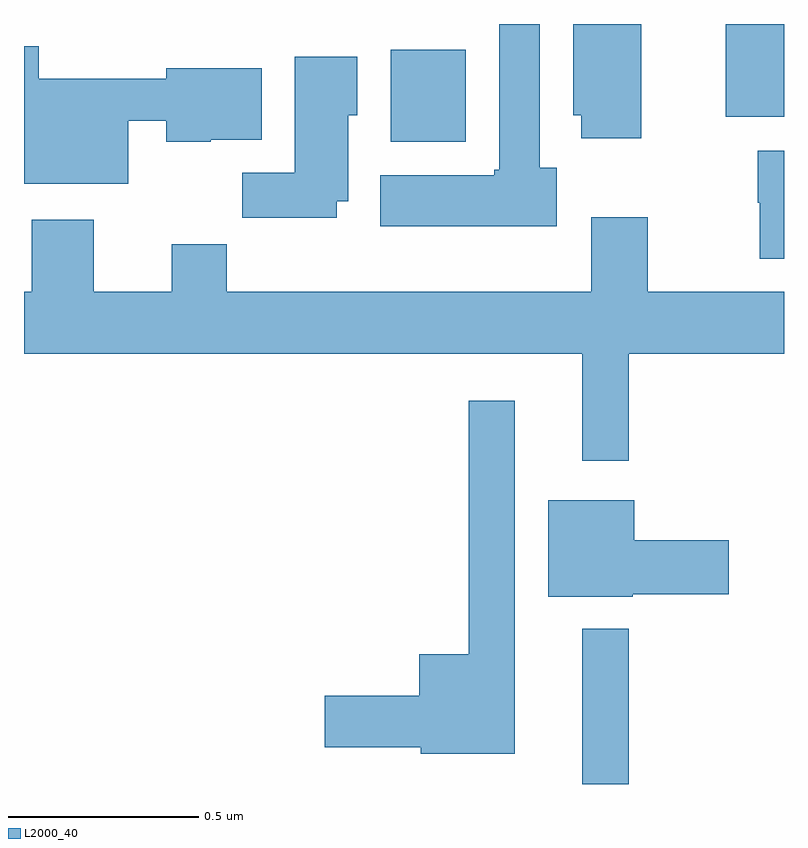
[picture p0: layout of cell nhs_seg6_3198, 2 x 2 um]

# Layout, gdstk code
import gdstk
lib = gdstk.Library(unit=1e-6, precision=1e-09)
def R(c, l, rs):  # rectangles x0, y0, x1, y1
    for r in rs: c.add(gdstk.rectangle(r[:2], r[2:], *l))
def P(c, l, *ps):  # polygons
    for p in ps: c.add(gdstk.Polygon(p, *l))
L2000_40 = (2000, 40)

nhs_seg6_3198 = lib.new_cell('nhs_seg6_3198')
R(nhs_seg6_3198, L2000_40, [(154.469,983.5,154.591,983.908), (153.965,985.19,154.162,985.432), (154.847,985.256,155,985.5)])
P(nhs_seg6_3198, L2000_40, [(154.402,985.122),(154.357,985.122),(154.357,985.5),(154.217,985.5),(154.217,985.499),(154.25,985.499),(154.25,985.116),(154.237,985.116),(154.237,985.102),(153.938,985.102),(153.938,984.968),(154.402,984.968)],
  [(154.624,985.5),(154.445,985.5),(154.445,985.26),(154.466,985.26),(154.466,985.2),(154.624,985.2)],
  [(153.274,985.245),(153.374,985.245),(153.374,985.19),(153.492,985.19),(153.492,985.196),(153.625,985.196),(153.625,985.384),(153.374,985.384),(153.374,985.356),(153.039,985.356),(153.039,985.441),(153,985.441),(153,985.079),(153.274,985.079)],
  [(153.823,985.034),(153.853,985.034),(153.853,985.26),(153.877,985.26),(153.877,985.414),(153.713,985.414),(153.713,985.108),(153.574,985.108),(153.574,984.99),(153.823,984.99)],
  [(155,985.167),(154.931,985.167),(154.931,985.029),(154.936,985.029),(154.936,984.882),(155,984.882)],
  [(154.493,984.991),(154.493,984.796),(153.533,984.796),(153.533,984.92),(153.389,984.92),(153.389,984.796),(153.184,984.796),(153.184,984.985),(153.02,984.985),(153.02,984.796),(153,984.796),(153,984.632),(154.469,984.632),(154.469,984.351),(154.591,984.351),(154.591,984.632),(155,984.632),(155,984.796),(154.641,984.796),(154.641,984.991)],
  [(154.291,984.508),(154.17,984.508),(154.17,983.842),(154.04,983.842),(154.04,983.732),(153.792,983.732),(153.792,983.597),(154.044,983.597),(154.044,983.579),(154.291,983.579)],
  [(154.602,983.999),(154.855,983.999),(154.855,984.141),(154.606,984.141),(154.606,984.247),(154.379,984.247),(154.379,983.993),(154.602,983.993)])

lib.write_gds('nhs_seg6_3198.gds')
